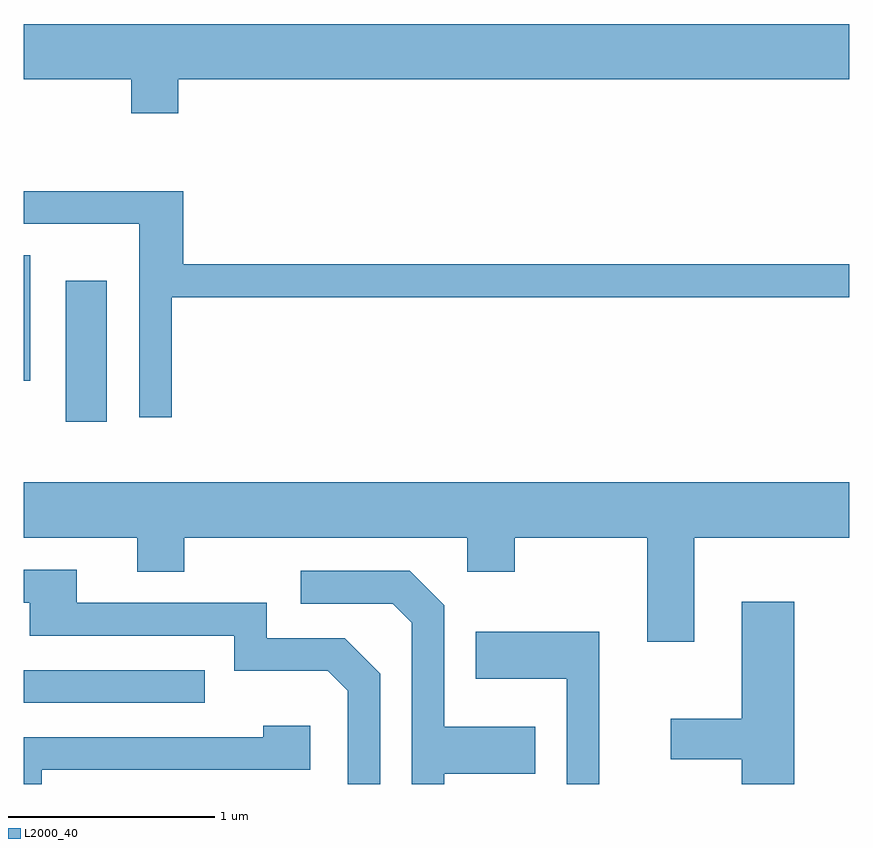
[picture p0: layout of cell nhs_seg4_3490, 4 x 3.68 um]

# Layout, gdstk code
import gdstk
lib = gdstk.Library(unit=1e-6, precision=1e-09)
def R(c, l, rs):  # rectangles x0, y0, x1, y1
    for r in rs: c.add(gdstk.rectangle(r[:2], r[2:], *l))
def P(c, l, *ps):  # polygons
    for p in ps: c.add(gdstk.Polygon(p, *l))
L2000_40 = (2000, 40)

nhs_seg4_3490 = lib.new_cell('nhs_seg4_3490')
R(nhs_seg4_3490, L2000_40, [(287.611,1298.376,288.488,1298.534), (287.816,1299.736,288.014,1300.419), (287.611,1299.936,287.644,1300.544)])
P(nhs_seg4_3490, L2000_40, [(288.359,1301.396),(291.611,1301.396),(291.611,1301.664),(287.611,1301.664),(287.611,1301.396),(288.131,1301.396),(288.131,1301.231),(288.359,1301.231)],
  [(288.329,1300.341),(291.611,1300.341),(291.611,1300.499),(288.384,1300.499),(288.384,1300.854),(287.611,1300.854),(287.611,1300.696),(288.171,1300.696),(288.171,1299.758),(288.329,1299.758)],
  [(290.859,1299.176),(291.611,1299.176),(291.611,1299.444),(287.611,1299.444),(287.611,1299.176),(288.161,1299.176),(288.161,1299.011),(288.389,1299.011),(288.389,1299.176),(289.761,1299.176),(289.761,1299.011),(289.989,1299.011),(289.989,1299.176),(290.631,1299.176),(290.631,1298.671),(290.859,1298.671)],
  [(289.339,1298.517),(289.167,1298.689),(288.789,1298.689),(288.789,1298.859),(287.869,1298.859),(287.869,1299.019),(287.611,1299.019),(287.611,1298.861),(287.641,1298.861),(287.641,1298.701),(288.631,1298.701),(288.631,1298.531),(289.084,1298.531),(289.181,1298.434),(289.181,1297.982),(289.339,1297.982)],
  [(289.649,1298.031),(290.089,1298.031),(290.089,1298.259),(289.649,1298.259),(289.649,1298.847),(289.482,1299.014),(288.953,1299.014),(288.953,1298.856),(289.399,1298.856),(289.491,1298.764),(289.491,1297.982),(289.649,1297.982)],
  [(291.344,1298.864),(291.091,1298.864),(291.091,1298.299),(290.746,1298.299),(290.746,1298.101),(291.091,1298.101),(291.091,1297.982),(291.344,1297.982)],
  [(290.399,1298.719),(289.801,1298.719),(289.801,1298.491),(290.241,1298.491),(290.241,1297.982),(290.399,1297.982)],
  [(287.699,1298.051),(288.999,1298.051),(288.999,1298.264),(288.771,1298.264),(288.771,1298.209),(287.611,1298.209),(287.611,1297.982),(287.699,1297.982)])

lib.write_gds('nhs_seg4_3490.gds')
